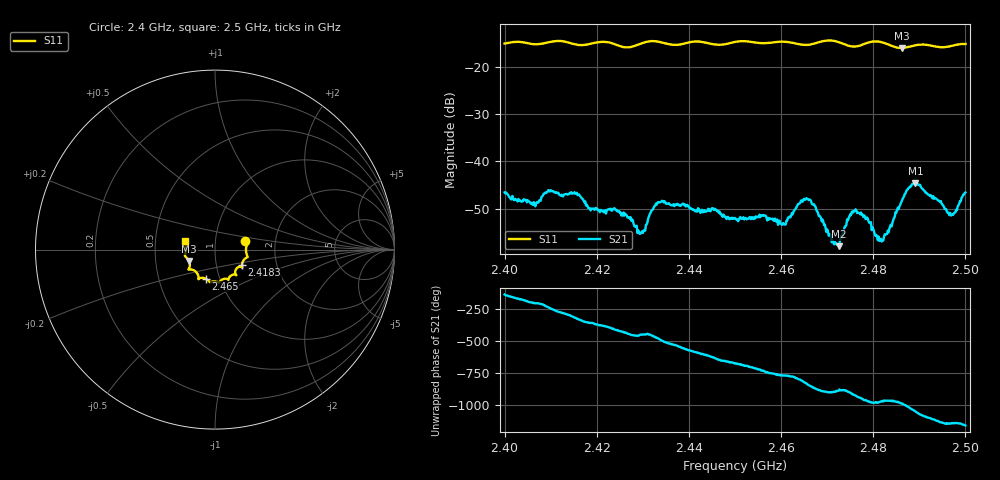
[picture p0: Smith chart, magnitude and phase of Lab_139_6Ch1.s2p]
# Hz S RI R 50
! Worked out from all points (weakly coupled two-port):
!   601 points, 2.4 GHz to 2.5 GHz, reference 50 ohm
!   highest |S21| = -44.55 dB at 2.4892 GHz (marker M1); lowest = -57.9 dB at 2.4725 GHz (marker M2)
!   lowest |S11| = -16.1 dB at 2.4862 GHz (marker M3), VSWR 1.37, Z = 37.1 - j4.8 ohm
!   |S11| at or under -10 dB: start of sweep to end of sweep
!   S12 and S22 are empty: the file has one direction only
!   S11 on the Smith chart (normalised r, x): 2.4 GHz: 1.40, +0.13; 2.4183 GHz: 1.33, -0.24; 2.465 GHz: 0.86, -0.29; 2.5 GHz: 0.71, +0.07
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2.4e9  0.1694 0.0458  -0.00327 -0.00338  0 0  0 0
2.406167e9  0.1729 0.00723  -0.00324 0.00125  0 0  0 0
2.409833e9  0.1789 -0.034  -0.00241 0.00415  0 0  0 0
2.416667e9  0.1547 -0.068  0.00381 0.00156  0 0  0 0
2.418333e9  0.15 -0.0869  0.00319 0.000273  0 0  0 0
2.424333e9  0.1402 -0.0953  0.00179 -0.0025  0 0  0 0
2.429667e9  0.1132 -0.1347  3.59e-05 -0.00174  0 0  0 0
2.433333e9  0.1176 -0.141  -0.00183 -0.00323  0 0  0 0
2.45e9  0.0251 -0.1809  0.00186 0.00171  0 0  0 0
2.4605e9  -0.0287 -0.1817  0.00143 -0.00171  0 0  0 0
2.465e9  -0.0525 -0.1617  -0.000877 -0.00393  0 0  0 0
2.466667e9  -0.0714 -0.1572  -0.00267 -0.00238  0 0  0 0
2.471333e9  -0.0916 -0.1639  -0.00142 1.01e-05  0 0  0 0
2.4725e9  -0.0911 -0.1573  -0.00125 -0.000239  0 0  0 0
2.475833e9  -0.1086 -0.1216  -0.00275 0.00118  0 0  0 0
2.4785e9  -0.1383 -0.1107  -0.000987 0.00229  0 0  0 0
2.4815e9  -0.1471 -0.1088  -0.00033 0.00144  0 0  0 0
2.483333e9  -0.1416 -0.0964  -0.000656 0.00165  0 0  0 0
2.486167e9  -0.144 -0.063  0.000152 0.00377  0 0  0 0
2.489167e9  -0.1636 -0.0403  0.00531 0.00262  0 0  0 0
2.496833e9  -0.1628 0.026  0.000987 -0.0025  0 0  0 0
2.5e9  -0.1673 0.047  0.000527 -0.00466  0 0  0 0
